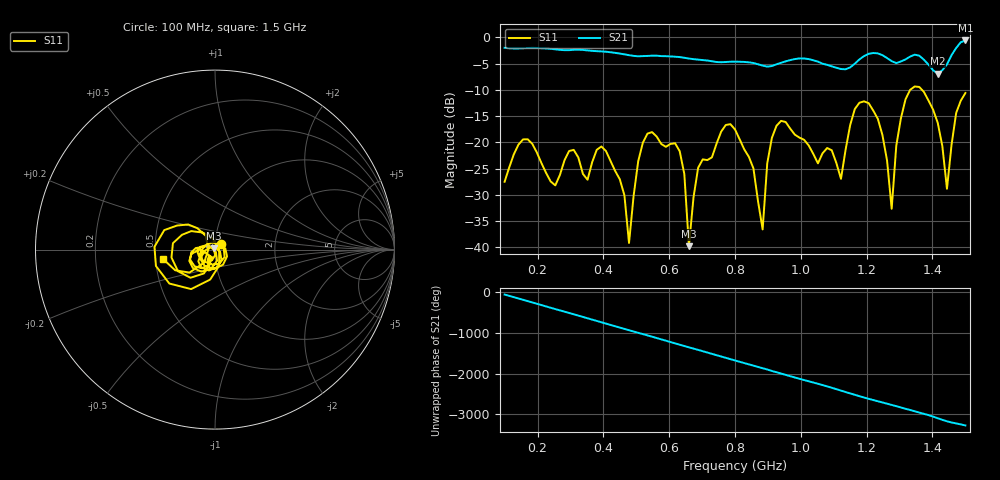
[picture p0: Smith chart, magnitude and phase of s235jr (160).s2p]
! NanoVNA-App
! Date: 2025-09-25 15:05:24
! Start: 100MHz Stop: 1,5GHz Points: 101
! S-Parameter data: F S11 S21 S12 S22
# Hz S RI R 50
!  Frequency  S11_Real  S11_Imag  S21_Real  S21_Imag  S12_Real  S12_Imag  S22_Real  S22_Imag
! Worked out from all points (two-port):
!   101 points, 100 MHz to 1.5 GHz, reference 50 ohm
!   highest |S21| = -0.57 dB at 1.5 GHz (marker M1); lowest = -6.9 dB at 1.416 GHz (marker M2)
!   |S21| within 3 dB of the highest: start of sweep to 502.8 MHz; 512.3 MHz to 591.1 MHz (78.75 MHz wide, 14.3 % of centre) (the widest 2 of 5)
!   lowest |S11| = -39.8 dB at 660 MHz (marker M3), VSWR 1.02, Z = 49.2 + j0.652 ohm
!   |S11| at or under -10 dB: start of sweep to 1.332 GHz; 1.368 GHz to end of sweep
!   S12 and S22 are empty: the file has one direction only
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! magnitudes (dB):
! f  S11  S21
! 100 MHz  -27.5  -2.0
! 156 MHz  -19.4  -2.0
! 338 MHz  -26.0  -2.4
! 408 MHz  -21.6  -2.7
! 478 MHz  -39.1  -3.4
! 520 MHz  -20.0  -3.5
! 576 MHz  -20.3  -3.5
! 632 MHz  -21.7  -3.7
! 660 MHz  -39.8  -4.0
! 688 MHz  -24.8  -4.2
! 800 MHz  -17.5  -4.6
! 884 MHz  -36.6  -5.4
! 926 MHz  -16.8  -5.1
! 1.038 GHz  -22.2  -4.3
! 1.122 GHz  -26.9  -6.0
! 1.206 GHz  -12.5  -3.1
! 1.276 GHz  -32.6  -4.5
! 1.29 GHz  -20.6  -4.9
! 1.332 GHz  -10.0  -3.6
! 1.416 GHz  -16.3  -6.9
! 1.444 GHz  -28.8  -5.1
! 1.5 GHz  -10.6  -0.6
